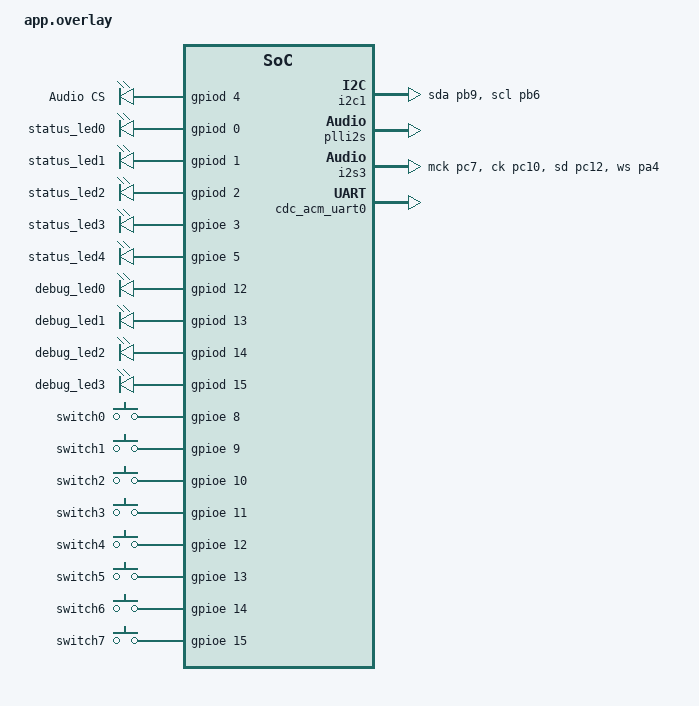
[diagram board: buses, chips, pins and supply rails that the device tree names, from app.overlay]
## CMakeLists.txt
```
cmake_minimum_required(VERSION 3.20.0)

set(BOARD stm32f4_disco)
set(CONF_FILE prj.conf)
find_package(Zephyr)
project(my_zephyr_app)

target_sources(app PRIVATE 
src/audio.cpp
src/leds.cpp
src/usb.c
src/Switch.cpp
src/key.cpp
src/i2c.c
src/peripherals.cpp
src/synth.cpp
src/main.cpp 
)
```

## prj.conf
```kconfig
CONFIG_CONSOLE=y
CONFIG_I2C=y
CONFIG_I2S=y
CONFIG_NEWLIB_LIBC=y
CONFIG_STDOUT_CONSOLE=y
CONFIG_USB_DEVICE_STACK=y
CONFIG_USB_DEVICE_PRODUCT="Zephyr CDC ACM sample"
CONFIG_USB_DEVICE_PID=0x0001
CONFIG_SERIAL=y
CONFIG_UART_INTERRUPT_DRIVEN=y
CONFIG_UART_LINE_CTRL=y
CONFIG_CPP=y
```

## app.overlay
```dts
&i2c1 {
    pinctrl-0 = <&i2c1_sda_pb9 &i2c1_scl_pb6>;
    pinctrl-names = "default";
    status = "okay";
};

/ {
    chip_selects {
        compatible = "gpio-leds";
        audio_cs: cs_0 {
            gpios = <&gpiod 4 GPIO_ACTIVE_HIGH>;
            label = "Audio CS";
        };
    };

    leds {
        compatible = "gpio-leds";
        status_led0: led_0 {
                gpios = <&gpiod 0 GPIO_ACTIVE_HIGH>;
        };
        status_led1: led_1 {
                gpios = <&gpiod 1 GPIO_ACTIVE_HIGH>;
        };
        status_led2: led_2 {
                gpios = <&gpiod 2 GPIO_ACTIVE_HIGH>;
        };
        status_led3: led_3 {
                gpios = <&gpioe 3 GPIO_ACTIVE_HIGH>;
        };
        status_led4: led_4 {
                gpios = <&gpioe 5 GPIO_ACTIVE_HIGH>;
        };
        debug_led0: led_5 {
            gpios = <&gpiod 12 GPIO_ACTIVE_HIGH>;
        };
        debug_led1: led_6 {
            gpios = <&gpiod 13 GPIO_ACTIVE_HIGH>;
        };
        debug_led2: led_7 {
            gpios = <&gpiod 14 GPIO_ACTIVE_HIGH>;
        };
        debug_led3: led_8 {
            gpios = <&gpiod 15 GPIO_ACTIVE_HIGH>;
        };
    };

    buttons {
        compatible = "gpio-keys";
        switch0: button_0 {
            gpios = <&gpioe 8 GPIO_ACTIVE_HIGH>;
        };
        switch1: button_1 {
            gpios = <&gpioe 9 GPIO_ACTIVE_HIGH>;
        };
        switch2: button_2 {
            gpios = <&gpioe 10 GPIO_ACTIVE_HIGH>;
        };
        switch3: button_3 {
            gpios = <&gpioe 11 GPIO_ACTIVE_HIGH>;
        };
        switch4: button_4 {
            gpios = <&gpioe 12 GPIO_ACTIVE_HIGH>;
        };
        switch5: button_5 {
            gpios = <&gpioe 13 GPIO_ACTIVE_HIGH>;
        };
        switch6: button_6 {
            gpios = <&gpioe 14 GPIO_ACTIVE_HIGH>;
        };
        switch7: button_7 {
            gpios = <&gpioe 15 GPIO_ACTIVE_HIGH>;
        };
    };


    aliases {
        cs0 = &audio_cs;
        status-led0 = &status_led0;
        status-led1 = &status_led1;
        status-led2 = &status_led2;
        status-led3 = &status_led3;
        status-led4 = &status_led4;
        debug-led0 = &debug_led0;
        debug-led1 = &debug_led1;
        debug-led2 = &debug_led2;
        debug-led3 = &debug_led3;
        switch0 = &switch0;
        switch1 = &switch1;
        switch2 = &switch2;
        switch3 = &switch3;
        switch4 = &switch4;
        switch5 = &switch5;
        switch6 = &switch6;
        switch7 = &switch7;
    };
};

&dma1 {
    status = "okay";
};

&plli2s {
    status = "okay";
    mul-n = <338>;
    div-r = <3>;
};

i2s_tx: &i2s3 {
    pinctrl-0 = <&i2s3_mck_pc7 &i2s3_ck_pc10 &i2s3_sd_pc12 &i2s3_ws_pa4>;
    pinctrl-names = "default";
    status = "okay";
	clocks = <&rcc STM32_CLOCK_BUS_APB1 0x00008000>,
             <&rcc STM32_SRC_PLLI2S_R I2S_SEL(0)>;
    mck-enabled;
};

&zephyr_udc0 {
	cdc_acm_uart0 {
		compatible = "zephyr,cdc-acm-uart";
	};
};
```

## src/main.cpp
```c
/*
 * Copyright (c) 2016 Intel Corporation
 *
 * SPDX-License-Identifier: Apache-2.0
 */

#include "Switch.hpp"
#include "audio.h"
#include "key.hpp"
#include "leds.h"
#include "peripherals.h"
#include "synth.hpp"
#include "usb.h"
//#include "Scheduler.h"
#include <math.h>
#include <zephyr/kernel.h>
#include <zephyr/logging/log.h>

#define STACK_SIZE 1024
#define MAX_THREADS 3

#define TH1_PRIORITY 3
#define TH2_PRIORITY 2
#define TH3_PRIORITY 4
//#define TH4_PRIORITY 4

#define TH1_PERIOD 5
#define TH2_PERIOD 100
#define TH3_PERIOD 50
//#define TH4_PERIOD 50


K_THREAD_STACK_DEFINE(stack1, STACK_SIZE);
K_THREAD_STACK_DEFINE(stack2, STACK_SIZE);
K_THREAD_STACK_DEFINE(stack3, STACK_SIZE);
//K_THREAD_STACK_DEFINE(stack4, STACK_SIZE);


int priorities[MAX_THREADS] = {TH1_PRIORITY, TH2_PRIORITY, TH3_PRIORITY};
k_thread_stack_t *stacks[MAX_THREADS] = {stack1, stack2, stack3};
//int leds[MAX_THREADS] = {&debug_led0, &debug_led1, &debug_led2, &debug_led3};
struct k_work_q work_q[MAX_THREADS];

// Syntheizer instance
Synthesizer synth;
// Buffer for writing to audio driver
void *mem_block;
int current_block = 1;

void check_keyboard() {
  char character;
  while (usbRead(&character, 1)) {
    auto key = Key::char_to_key(character);
    bool key_pressed = false;
    for (int i = 0; i < MAX_KEYS; i++) {
      if (key == keys[i].key && keys[i].state != IDLE) {
        keys[i].state = PRESSED;
        keys[i].hold_time = sys_timepoint_calc(K_MSEC(500));
        keys[i].release_time = sys_timepoint_calc(K_MSEC(500));
        key_pressed = true;
      }
    }
    // The second loop is necessary to avoid selecting an IDLE key when a
    // PRESSED or RELEASED key is located further away on the array
    if (!key_pressed) {
      for (int i = 0; i < MAX_KEYS; i++) {
        if (keys[i].state == IDLE) {
          keys[i].key = key;
          keys[i].state = PRESSED;
          keys[i].hold_time = sys_timepoint_calc(K_MSEC(500));
          keys[i].release_time = sys_timepoint_calc(K_MSEC(500));
          keys[i].phase1 = 0;
          keys[i].phase2 = 0;
          break;
        }
      }
    }
  }
}


void peripherals_update_work_handler(struct k_work *work) {

  set_led(&debug_led0);
  peripherals_update();
  reset_led(&debug_led0);
}

void check_keyboard_work_handler(struct k_work *work) {

  set_led(&debug_led1);
  check_keyboard();
  reset_led(&debug_led1);
}

void makesynth_work_handler(struct k_work *work) {

  //Timer to prevent overloding
  k_timepoint_t timeout = sys_timepoint_calc(K_MSEC(TH3_PERIOD - 2));

  set_led(&debug_led2);
  synth.makesynth(((uint8_t *) mem_block) + (int) BLOCK_SIZE * current_block, timeout);
  reset_led(&debug_led2);

  current_block = (current_block + 1) % 2;

  set_led(&debug_led3);
  writeBlock(((uint8_t *) mem_block) + (int) BLOCK_SIZE * current_block);
  reset_led(&debug_led3);
}

/* void writeBlock_work_handler(struct k_work *work) {

  set_led(&debug_led3);
  writeBlock(((uint8_t *) mem_block) + (int) BLOCK_SIZE * current_block);
  reset_led(&debug_led3);
} */


K_WORK_DEFINE(peripherals_update_work, peripherals_update_work_handler);
K_WORK_DEFINE(check_keyboard_work, check_keyboard_work_handler);
K_WORK_DEFINE(makesynth_work, makesynth_work_handler);
//K_WORK_DEFINE(writeBlock_work, writeBlock_work_handler);


void peripherals_update_timer_handler(struct k_timer *timer) {
  k_work_submit_to_queue(&work_q[0], &peripherals_update_work);
}

void check_keyboard_timer_handler(struct k_timer *timer) {
  k_work_submit_to_queue(&work_q[1], &check_keyboard_work);
}

void makesynth_timer_handler(struct k_timer *timer) {
  k_work_submit_to_queue(&work_q[2], &makesynth_work);
}

/* void writeBlock_timer_handler(struct k_timer *timer) {
  k_work_submit_to_queue(&work_q[3], &writeBlock_work);
} */

K_TIMER_DEFINE(peripherals_update_timer, peripherals_update_timer_handler, NULL); 
K_TIMER_DEFINE(check_keyboard_timer, check_keyboard_timer_handler, NULL);
K_TIMER_DEFINE(makesynth_timer, makesynth_timer_handler, NULL);
//K_TIMER_DEFINE(writeBlock_timer, writeBlock_timer_handler, NULL);


int main(void) {
  initUsb();
  waitForUsb();

  init_leds();
  initAudio();
  init_peripherals();

  synth.initialize();

  mem_block = allocBlock(); 
  memset(mem_block, 0, BLOCK_SIZE * 2);

  reset_led(&debug_led0);
  reset_led(&debug_led1);
  reset_led(&debug_led2);
  reset_led(&debug_led3);

  for (int i = 0; i < MAX_THREADS; i++) {
    k_work_queue_init(&work_q[i]);
    k_work_queue_start(&work_q[i], stacks[i], STACK_SIZE, priorities[i], NULL);
  }

  k_timer_start(&peripherals_update_timer, K_NO_WAIT, K_MSEC(TH1_PERIOD));
  k_timer_start(&check_keyboard_timer, K_NO_WAIT, K_MSEC(TH2_PERIOD));
  k_timer_start(&makesynth_timer, K_NO_WAIT, K_MSEC(TH3_PERIOD));
  //k_timer_start(&writeBlock_timer, K_NO_WAIT, K_MSEC(TH4_PERIOD));

  k_thread_suspend(k_current_get());

  /* int64_t time = k_uptime_get();

  int state = 0;
  while (1) {
    // Run the superloop slightly faster than once every 50 ms
    if (k_uptime_get() - time > BLOCK_GEN_PERIOD_MS-1) {
      time = k_uptime_get();

      if (state) {
        set_led(&status_led0);
      } else {
        reset_led(&status_led0);
      }
      state = !state;

      // Check the peripherals input
      set_led(&debug_led0);
      peripherals_update();
      reset_led(&debug_led0);

      // Get user input from the keyboard
      set_led(&debug_led1);
      check_keyboard();
      reset_led(&debug_led1);

      // Make synth sound
      set_led(&debug_led2);
      synth.makesynth((uint8_t *)mem_block);
      reset_led(&debug_led2);

      // Write audio block
      set_led(&debug_led3);
      writeBlock(mem_block);
      reset_led(&debug_led3);
    }
  }

  printuln("== Finished initialization =="); */

  return 0;
}
```

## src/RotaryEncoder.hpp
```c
#ifndef __ROTARY_ENCODER_H__
#define __ROTARY_ENCODER_H__

#include "usb.h"
#include <errno.h>

class RotaryEncoder {
public:
  // Encoder's callback type definition, called when the encoder changes its state
  typedef void (*re_callback)(RotaryEncoder &encoder);

  /// @brief Encoder's constructor
  /// @param id encoder's ID, from 0 to N_ENCODERS
  /// @param pin_0 initialization value of pin 0
  /// @param pin_1 initialization value of pin 0
  /// @param absolute_value absolute initialization value
  /// @param callback the callback that is called when the encoder changes its state. Default: no callback
  RotaryEncoder(uint8_t id, unsigned int pin_0, unsigned int pin_1,
                int absolute_value = 0, re_callback callback = nullptr)
      : _id{id}, _pin_0{pin_0}, _pin_1{pin_1}, _absolute_value{absolute_value},
        _callback{callback} {}
  
  /// @brief Default encoder's constructor
  RotaryEncoder()
      : _id{0}, _pin_0{0}, _pin_1{0}, _absolute_value{0}, _callback{nullptr} {}

  /// @brief Encoder initialization function
  /// Call this function during initialization before calling the rest of the fuctions if you have used the default constuctor
  /// @param id encoder's ID, from 0 to N_ENCODERS
  /// @param pin_0 initialization value of pin 0
  /// @param pin_1 initialization value of pin 1
  /// @param absolute_value absolute initialization value
  /// @param callback the callback that is called when the encoder changes its state. Default: no callback
  void initialize(uint8_t id, unsigned int pin_0, unsigned int pin_1,
                  re_callback callback = nullptr) {
    _id = id;
    _pin_0 = pin_0;
    _pin_1 = pin_1;
    _callback = callback;
  }

  /// @brief Reset to 0 the encoder's absolute value
  void reset() { _absolute_value = 0; }

  /// @brief Get the encoder's absolute value
  /// @return the encoder's absolute value
  int get_state() { return _absolute_value; }

  /// @brief Get the encoder's absolute value
  /// @param state he encoder's new absolute value
  void set_state(int state) { _absolute_value = state; }

  /// @brief Clamp and set the new absolute value
  /// @param state the new absolute value
  /// @param min minimum clamping value
  /// @param max maximum clamping value
  void set_state_clamped(int state, int min, int max) {
    int tmp = state;

    if (tmp > max) {
      tmp = max;
    } else if (tmp < min) {
      tmp = min;
    }

    _absolute_value = tmp;
  }

  /// @brief Get the encoder's pin 0 value
  /// @return the encoder's pin 0 value
  unsigned int get_pin0() { return _pin_0; }

  /// @brief Get the encoder's pin 1 value
  /// @return the encoder's pin 1 value
  unsigned int get_pin1() { return _pin_1; }

  /// @brief Set the encoder's callback
  /// @param callback the encoder's callback
  void set_callback(re_callback callback) { _callback = callback; }

  /// @brief Set a new value for pin 0
  /// @param pin_0 
  /// @return 0 on success, -ERRNO otherwise
  int update_pin_0(int pin_0) { return update(pin_0, _pin_1); }

  /// @brief Set a new value for pin 1
  /// @param pin_1 
  /// @return 0 on success, -ERRNO otherwise
  int update_pin_1(int pin_1) { return update(_pin_0, pin_1); }

  /// @brief Update the encoder's state
  /// @param pin_0 
  /// @param pin_1 
  /// @return 0 on success, -ERRNO otherwise
  int update(unsigned int pin_0, unsigned int pin_1) {
    // Check for invalid state
    if (((pin_0 != _pin_0) && (pin_1 != _pin_1)) || pin_0 > 1 || pin_1 > 1) {
      return -EINVAL;
    } else if ((pin_0 == _pin_0) && (pin_1 == _pin_1)) {
      return 0;
    }

    int past_value = _pin_0 + _pin_1 * 2;
    int new_value = pin_0 + pin_1 * 2;
    _pin_0 = pin_0;
    _pin_1 = pin_1;

    // Update the state machine
    switch (past_value) {
    case 0:
      if (new_value == 1)
        _absolute_value++;
      else if (new_value == 2)
        _absolute_value--;
      break;
    case 1:
      if (new_value == 3)
        _absolute_value++;
      else if (new_value == 0)
        _absolute_value--;
      break;
    case 2:
      if (new_value == 0)
        _absolute_value++;
      else if (new_value == 3)
        _absolute_value--;
      break;
    case 3:
      if (new_value == 2)
        _absolute_value++;
      else if (new_value == 1)
        _absolute_value--;
      break;
    default:
      break;
    }

    if (_callback != nullptr)
      _callback(*this);

    return 0;
  }

public:
  uint8_t _id;
  unsigned int _pin_0;
  unsigned int _pin_1;
  int _absolute_value;
  re_callback _callback;
};

#endif // __ROTARY_ENCODER_H__
```

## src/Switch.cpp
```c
#include "Switch.hpp"
#include "usb.h"

#include <zephyr/drivers/gpio.h>

bool get_button(const struct gpio_dt_spec *button) {
  return gpio_pin_get_dt(button);
}

int ThreePosSwitch::initialize(const struct gpio_dt_spec *up,
                               const struct gpio_dt_spec *down,
                               sw3_callback callback) {
  _callback = callback;
  _up = up;
  _down = down;

  // Configure the first GPIO
  if (!gpio_is_ready_dt(_up)) {
    printuln("GPIO up was not ready.");
    return -1;
  }
  gpio_pin_configure_dt(_up, GPIO_INPUT | GPIO_PULL_UP);

  // Configure the second GPIO
  if (!gpio_is_ready_dt(_down)) {
    printuln("GPIO down was not ready.");
    return -1;
  }
  gpio_pin_configure_dt(_down, GPIO_INPUT | GPIO_PULL_UP);

  update();
  return 0;
}

void ThreePosSwitch::update() {
  // Get the new state
  bool up = gpio_pin_get_dt(_up);
  bool dn = gpio_pin_get_dt(_down);
  if (up == dn) {
    _current_state = Neutral;
  } else if (up) {
    _current_state = Up;
  } else {
    _current_state = Down;
  }

  // If the state is different, call the callback
  if (_current_state != _previous && _callback != nullptr) {
    _callback(*this);
  }

  // Update the invariant
  _previous = _current_state;
}
```

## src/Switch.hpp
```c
#ifndef __BUTTONS_H__
#define __BUTTONS_H__

enum ThreeWaySwitchState { Down = -1, Neutral = 0, Up = 1 };

class ThreePosSwitch {
public:
  // Switch's callback type definition, called when the switch changes its state
  typedef void (*sw3_callback)(ThreePosSwitch &sw);

  /// @brief Default constructor
  ThreePosSwitch()
      : _current_state{Neutral}, _previous{Neutral}, _callback{nullptr},
        _up{nullptr}, _down{nullptr} {}
  
  /// @brief Switch's initialization function
  /// Call this function during initialization before calling the rest of the fuctions
  /// @param up up pin hardware handler
  /// @param down down pin hardware handler
  /// @param callback the callback that is called when the switch changes its state. Default: no callback
  /// @return 0 on success, -ERRNO otherwise
  int initialize(const struct gpio_dt_spec *up, const struct gpio_dt_spec *down,
                 sw3_callback callback = nullptr);
  
  /// @brief Switch update function.
  void update();

  ThreeWaySwitchState _current_state;
  ThreeWaySwitchState _previous;
  sw3_callback _callback;
  const struct gpio_dt_spec *_up;
  const struct gpio_dt_spec *_down;
};

#endif // __BUTTONS_H__
```

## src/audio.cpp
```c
#include "audio.h"
#include "usb.h"
#include <errno.h>
#include <stdint.h>
#include <zephyr/drivers/gpio.h>
#include <zephyr/drivers/i2c.h>
#include <zephyr/drivers/i2s.h>
#include <zephyr/kernel.h>
#include <zephyr/logging/log.h>

#define I2S_TX_NODE DT_NODELABEL(i2s_tx)
K_MEM_SLAB_DEFINE_STATIC(mem_slab, BLOCK_SIZE, BLOCK_COUNT, 4);

/* 1000 msec = 1 sec */
#define SLEEP_TIME_MS 1000

/* The devicetree node identifier for the "led0" alias. */
#define LED0_NODE DT_ALIAS(led0)
#define AUDIO_CS DT_ALIAS(cs0)

static const struct gpio_dt_spec cs = GPIO_DT_SPEC_GET(AUDIO_CS, gpios);
const struct device *const i2s_dev_tx = DEVICE_DT_GET(I2S_TX_NODE);

static int read(uint8_t devaddr, uint8_t regaddr, uint8_t *regval) {
  int ret;

  const struct device *dev = DEVICE_DT_GET(DT_NODELABEL(i2c1));

  if (!device_is_ready(dev)) {
    printuln("Device not ready");
    return -ENODEV;
  }

  ret = i2c_write_read(dev, devaddr, &regaddr, 1, regval, 1);
  if (ret) {
    printuln("Call `i2c_write_read` failed: %d", ret);
    return ret;
  }

  return 0;
}

static int write(uint8_t devaddr, uint8_t regaddr, uint8_t regval) {
  int ret;

  const struct device *dev = DEVICE_DT_GET(DT_NODELABEL(i2c1));

  if (!device_is_ready(dev)) {
    printuln("Device not ready");
    return -ENODEV;
  }

  uint8_t buf[2] = {regaddr, regval};

  ret = i2c_write(dev, buf, 2, devaddr);
  if (ret) {
    printuln("Call `i2c_write` failed: %d", ret);
    return ret;
  }

  return 0;
}

void *allocBlock() {
  void *mem_block;
  int ret = k_mem_slab_alloc(&mem_slab, &mem_block, K_NO_WAIT);
  if (ret < 0) {
    printuln("Failed to allocate TX block: %d\n", ret);
    return nullptr;
  }

  // We'll eventually want to handle this return value
  ret = i2s_trigger(i2s_dev_tx, I2S_DIR_TX, I2S_TRIGGER_START);

  return mem_block;
}

int initAudio() {
  int ret;

  // Initialize CS gpio pin
  if (!gpio_is_ready_dt(&cs)) {
    printuln("CS gpio pin was not ready.");
    return ret;
  }
  ret = gpio_pin_configure_dt(&cs, GPIO_OUTPUT_ACTIVE);
  if (ret < 0) {
    printuln("Failed to configure CS gpio pin.");
    return ret;
  }
  ret = gpio_pin_set_dt(&cs, 1);
  if (ret < 0) {
    printuln("Failed to set CS gpio pin to 1.");
    return ret;
  }

  ret = 0;
  ret |= write(0x4A, 0x02, 0x01); // power save registers -> all on
  ret |= write(0x4A, 0x00, 0x99);
  ret |= write(0x4A, 0x47, 0x80);     // inits
  ret |= write(0x4A, 0x0d, 0x03);     // playback ctrl
  ret |= write(0x4A, 0x32, (1 << 7)); // vol
  ret |= write(0x4A, 0x32, (0 << 7)); // vol
  ret |= write(0x4A, 0x00, 0x00);     // inits
  ret |= write(0x4A, 0x04, 0xaf);     // power ctrl
  ret |= write(0x4A, 0x0d, 0x70);
  ret |=
      write(0x4A, 0x05,
            0x81); // clocking: auto speed is determined by the MCLK/LRCK ratio.
  ret |= write(0x4A, 0x06, 0x07); // DAC interface format, I²S 16 bit
  ret |= write(0x4A, 0x0a, 0x00);
  ret |= write(0x4A, 0x27, 0x00);
  ret |= write(0x4A, 0x80, 0x0a); // both channels on
  ret |= write(0x4A, 0x1f, 0x0f);
  ret |= write(0x4A, 0x22, 4 - 80);
  ret |= write(0x4A, 0x23, 4 - 80); // limit headphone volume
  ret |= write(0x4A, 0x02, 0x9e);
  if (ret < 0) {
    printuln("Failed to write config over i2c.");
    return ret;
  }

  ret = setVolume(80);
  if (ret < 0) {
    printuln("Failed to set initial volume");
  }

  struct i2s_config config;

  if (!device_is_ready(i2s_dev_tx)) {
    printuln("%s is not ready\n", i2s_dev_tx->name);
    return -1;
  }

  config.word_size = SAMPLE_BIT_WIDTH;
  config.channels = NUMBER_OF_CHANNELS;
  config.format = I2S_FMT_DATA_FORMAT_I2S;
  config.options = I2S_OPT_BIT_CLK_MASTER | I2S_OPT_FRAME_CLK_MASTER;
  config.frame_clk_freq = SAMPLE_FREQUENCY;
  config.mem_slab = &mem_slab;
  config.block_size = BLOCK_SIZE;
  config.timeout = TIMEOUT;

  ret = i2s_configure(i2s_dev_tx, I2S_DIR_TX, &config);
  if (ret < 0) {
    printuln("Failed to configure TX stream: %d\n", ret);
    return -1;
  }

  printuln("Audio driver initialization finished!");
  return 0;
}

int setVolume(uint8_t volumeValue) {
  int8_t vol;
  if (volumeValue > 100)
    volumeValue = 100;
  // strange mapping, see datasheet
  // vol=25; // -102 dB
  // vol=24  // +12dB

  vol = -90 + (float)80 * volumeValue / 100;

  int ret = 0;
  ret |= write(0x4A, 0x20, vol);
  ret |= write(0x4A, 0x21, vol);
  if (ret < 0) {
    printuln("Failed to set volume.");
    return -1;
  }
  return 0;
}

int writeBlock(void *mem_block) {
  int ret;

  // We'll eventually want to check this return value
  !i2s_trigger(i2s_dev_tx, I2S_DIR_TX, I2S_TRIGGER_START);
  
  ret = i2s_write(i2s_dev_tx, mem_block, BLOCK_SIZE);
  if (ret < 0) {
    printuln("Failed to write block 0: %d", ret);
    if (ret == -5) {
      i2s_trigger(i2s_dev_tx, I2S_DIR_TX, I2S_TRIGGER_PREPARE);
      writeBlock(mem_block);
    }
    return 0;
  }

  printuln("Wrote block 0");
  return 0;
}
```

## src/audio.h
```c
#ifndef AUDIO_H
#define AUDIO_H

#include <stdint.h>

/**
 * I2S driver configuration constants
*/
#define SAMPLE_FREQUENCY 44100
#define SAMPLE_BIT_WIDTH 16
#define BYTES_PER_SAMPLE sizeof(int16_t)
#define NUMBER_OF_CHANNELS 1
#define TIMEOUT 1000

/**
 * Constants for configuring memory slab used as buffer for I2S driver
*/
// Want to generate a block of audio samples every 50 ms = 0.05 s
#define BLOCK_GEN_PERIOD_S (0.05)
#define BLOCK_GEN_PERIOD_MS (BLOCK_GEN_PERIOD_S * 1000)

// How many samples we can produce within the block generation period given
// the sampling frequency
#define SAMPLES_PER_BLOCK (SAMPLE_FREQUENCY * BLOCK_GEN_PERIOD_S * NUMBER_OF_CHANNELS)

// how large the audio block can be to fill it within the block generation period
#define BLOCK_SIZE (BYTES_PER_SAMPLE * SAMPLES_PER_BLOCK) 

// the number of audio blocks to use
#define BLOCK_COUNT (2)



/// @brief Audio initialization function
/// Call this function before you call any other function from this library
/// @return 0 on success, -ERRNO otherwise
int initAudio();

/// @brief Set the output volume/amplitude of the audio amplifier
/// @param volumeValue volume value, from 0 to 255
/// @return 0 on success, -ERRNO otherwise
int setVolume(uint8_t volumeValue);

/// @brief Initialize the audio buffers
void *allocBlock();

/// @brief Write one of the buffers to the audio amplifier
/// Note: this is accomplished asynchronously through a DMA request
/// @param mem_block the audio buffer
/// @return 0 on success, -ERRNO otherwise
int writeBlock(void *mem_block);

#endif
```

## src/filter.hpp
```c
#include <stdint.h>
#include <math.h>

#define PI (3.14159265358979323846)

// Filter discrete cut-off frequencies, 96-entry LUT
const float CUTOFF_FREQUENCIES_96[] = {
    0., 20.000,   20.993,   22.036,   23.131,   24.280,   25.485,   26.751,
    28.080,   29.475,   30.939,   32.476,   34.089,   35.782,   37.559,
    39.425,   41.383,   43.438,   45.596,   47.861,   50.238,   52.733,
    55.352,   58.102,   60.987,   64.017,   67.196,   70.534,   74.037,
    77.715,   81.575,   85.627,   89.880,   94.344,   99.030,   103.949,
    109.112,  114.531,  120.220,  126.191,  132.459,  139.039,  145.945,
    153.194,  160.803,  168.790,  177.173,  185.973,  195.211,  204.907,
    215.084,  225.768,  236.981,  248.752,  261.108,  274.077,  287.690,
    301.979,  316.979,  332.723,  349.249,  366.596,  384.805,  403.918,
    423.980,  445.039,  467.144,  490.347,  514.703,  540.268,  567.103,
    595.270,  624.837,  655.873,  688.450,  722.645,  758.538,  796.214,
    835.762,  877.274,  920.848,  966.586,  1014.596, 1064.991, 1117.888,
    1173.413, 1231.696, 1292.874, 1357.091, 1424.497, 1495.251, 1569.520,
    1647.477, 1729.307, 1815.201, 1905.361, 2000.000,
};


// Filter discrete cut-off frequencies, 48-entry LUT
// const float CUTOFF_FREQUENCIES_48[] = {
//   20.000, 22.059, 24.330, 26.834,
//   29.597, 32.643, 36.004, 39.710,
//   43.798, 48.307, 53.280, 58.765,
//   64.814, 71.486, 78.845, 86.962,
//   95.914, 105.787, 116.678, 128.689,
//   141.936, 156.548, 172.663, 190.438,
//   210.042, 231.665, 255.513, 281.816,
//   310.827, 342.825, 378.117, 417.041,
//   459.973, 507.324, 559.549, 617.151,
//   680.683, 750.755, 828.040, 913.281,
//   1007.297, 1110.992, 1225.361, 1351.504,
//   1490.632, 1644.083, 1813.330, 2000.000,
// };

// Implements second-order Butterworth low-pass filter
class Filter {
public:
    float _cutoff_freq; // cutoff frequency of the LPF in Hz
    int _cutoff_enc; // cutoff frequency encoder state
    float _resonance_freq; // TODO: implement
    int _resonance_enc;

private:
    // Frequency at which the LPF is sampled
    float sampling_freq;
    
    // Windows for the previous inputs and outputs
    float prev_sample[2] = {0, 0}; // x(n-1), x(n-2)
    float prev_output[2] = {0, 0}; // y(n-1), y(n-2)

    // Coefficients for the 2nd order Butterworth
    float a[3] = {0., 0., 0.}; // input sample coefficients
    float b[2] = {0., 0.}; // previous output sample coefficients

    /// @brief Update the filter coefficients from the encoder values
    /// Internal function called by the encoder's callback
    void update_coefficients() {
        // float K1 = sqrtf(2) * _cutoff_freq;
        // float K2 = powf(_cutoff_freq, 2);

        // a[0] = K2 / (1.0 + K1 + K2);
        // a[1] = 2 * a[0];
        // a[2] = a[0];

        // float K3 = a[1] / K2;

        // b[0] = -a[1] + K3;
        // b[1] = 1 - a[1] - K3;


        // float norm_freq = _cutoff_freq / sampling_freq;

        float ita = 1.0 / tanf(PI * _cutoff_freq);
        float q = sqrtf(2);

        a[0] = 1.0 / (1.0 + (q*ita) + (ita*ita));
        a[1] = 2 * a[0];
        a[2] = a[0];

        b[0] = 2.0 * ((ita * ita) - 1.0) * a[0];
        b[1] = -(1.0 - (q * ita) + (ita * ita)) * a[0];
    }

public:
    /// @brief Sound filter constructor
    /// @param sampling_freq TODO
    /// @param cutoff_freq TODO
    Filter(float sampling_freq, float cutoff_freq) {
        this->sampling_freq = sampling_freq;
        this->_cutoff_enc = 0;
        this->_resonance_enc = 0;
        set_cutoff_freq(cutoff_freq);
    }

    // Applies the filter and updates the sampling window
    float filter(float curr_sample) {
        float y = a[0] * curr_sample + a[1] * prev_sample[0] + a[2] * prev_sample[1] +
                    b[0] * prev_output[0] + b[1] * prev_output[1];
        
        // update sample window
        prev_sample[1] = prev_sample[0]; prev_sample[0] = curr_sample;
        prev_output[1] = prev_output[0]; prev_output[0] = y;

        return y;
    }

    /// @brief Sets the filter's cut-off frequency
    /// @param cutoff the filter's cut-off frequency
    void set_cutoff_freq(float cutoff) {
        // convert from Hz to rad/sec
        // float corrected_cutoff = (1 / (2*sampling_freq)) - cutoff;

        // Normalize the cutoff frequency to the sampling frequency
        _cutoff_freq =  cutoff / sampling_freq;
        update_coefficients();
    }

    /// @brief Sets the filter's resonance frequency
    /// @param cutoff the filter's resonance frequency
    void set_resonance_freq(float res) {
        _resonance_freq = res;
    }
};
```

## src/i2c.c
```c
#include <stdint.h>
#include <zephyr/drivers/i2c.h>

int read(uint8_t devaddr, uint8_t regaddr, uint8_t *regval)
{
    int ret;

    const struct device *dev = DEVICE_DT_GET(DT_NODELABEL(i2c1));

    if (!device_is_ready(dev)) {
        printk("Device not ready");
        return -ENODEV;
    }

    ret = i2c_write_read(dev, devaddr, &regaddr, 1, regval, 1);
    if (ret) {
        printk("Call `i2c_write_read` failed: %d", ret);
        return ret;
    }

    return 0;
}

static int write(uint8_t devaddr, uint8_t regaddr, uint8_t regval)
{
    int ret;

    const struct device *dev = DEVICE_DT_GET(DT_NODELABEL(i2c1));

    if (!device_is_ready(dev)) {
        printk("Device not ready");
        return -ENODEV;
    }

    uint8_t buf[2] = { regaddr, regval };

    ret = i2c_write(dev, buf, 2, devaddr);
    if (ret) {
        printk("Call `i2c_write` failed: %d", ret);
        return ret;
    }

    return 0;
}
```

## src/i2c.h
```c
#include <stdint.h>

/// @brief Read a byte from a device, syntactic sugar
/// @param devaddr the peripheral device's address
/// @param regaddr the device's register address
/// @param regval the address where this function will write the read value
/// @return 0 on success, -ERRNO otherwise
int read(uint8_t devaddr, uint8_t regaddr, uint8_t *regval);

/// @brief Write a byte from a device, syntactic sugar
/// @param devaddr the peripheral device's address
/// @param regaddr the device's register address
/// @param regval the value to write to the device
/// @return 0 on success, -ERRNO otherwise
int write(uint8_t devaddr, uint8_t regaddr, uint8_t regval);
```

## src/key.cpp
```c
#include "key.hpp"

Key keys[MAX_KEYS];

/*
 *  s d   g h j
 * z x c v b n m ,
 * | | | | | | | |
 * C D E F G A B C
 */
key_t Key::char_to_key(char c) {
  switch (c) {
  case ';':
    return E4;
  case 'p':
    return Dh4;
  case 'l':
    return D4;
  case 'o':
    return Ch4;
  case 'k':
    return C4;
  case 'j':
    return B4;
  case 'u':
    return Bb4;
  case 'h':
    return A4;
  case 'y':
    return Ab3;
  case 'g':
    return G3;
  case 't':
    return Fh3;
  case 'f':
    return F3;
  case 'd':
    return E3;
  case 'e':
    return Dh3;
  case 's':
    return D3;
  case 'w':
    return Ch3;
  case 'a':
    return C3;
  default:
    return A3;
  }
}

float Key::get_freq() {
  switch (key) {
  case A3:
    return 200.0;
  case Bb3:
    return 233.08;
  case B3:
    return 246.94;
  case C3:
    return 261.626;
  case Ch3:
    return 277.183;
  case D3:
    return 293.665;
  case Dh3:
    return 311.127;
  case E3:
    return 329.628;
  case F3:
    return 349.228;
  case Fh3:
    return 369.994;
  case G3:
    return 391.995;
  case Ab3:
    return 415.305;
  case A4:
    return 440.000;
  case Bb4:
    return 466.164;
  case B4:
    return 493.883;
  case C4:
    return 523.251;
  default:
    return 0.;
  }
}
```

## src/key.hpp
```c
#ifndef __KEY_H_H_
#define __KEY_H_H_

#include <stdint.h>
#include <zephyr/kernel.h>

typedef enum {
  A3,
  Bb3,
  B3,
  C3,
  Ch3,
  D3,
  Dh3,
  E3,
  F3,
  Fh3,
  G3,
  Ab3,
  A4,
  Bb4,
  B4,
  C4,
  Ch4,
  D4,
  Dh4,
  E4,
} key_t;

/// @brief The state of a key
typedef enum { IDLE, PRESSED, RELEASED } key_state_t;

/// @brief Maximum number of keys. Space allocated at compile time.
const uint8_t MAX_KEYS = 4;

class Key {
public:
  /// @brief Key constructor
  Key()
      : state{IDLE}, key{A3}, hold_time{sys_timepoint_calc(K_FOREVER)},
        release_time{sys_timepoint_calc(K_FOREVER)}, elapsed_hold{0.0},
        elapsed_release{0.0}, phase1{0}, phase2{0} {}

  /// @brief Generate key_t struct from keyboard input
  /// @param c the keyboard input
  /// @return keyboard key
  static key_t char_to_key(char c);

  /// @brief Get the frequency of this specific key
  /// @return this key's frequency
  float get_freq();

  key_state_t state;
  key_t key;
  uint16_t phase1;
  uint16_t phase2;
  k_timepoint_t hold_time;
  k_timepoint_t release_time;
  float elapsed_hold;
  float elapsed_release;
};

extern Key keys[MAX_KEYS];

#endif // __KEY_H__
```

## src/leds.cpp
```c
#include <zephyr/drivers/gpio.h>
#include <zephyr/kernel.h>
#include <zephyr/logging/log.h>
#include "leds.h"
#include "usb.h"

const struct gpio_dt_spec debug_led0 = GPIO_DT_SPEC_GET(DT_ALIAS(debug_led0), gpios);
const struct gpio_dt_spec debug_led1 = GPIO_DT_SPEC_GET(DT_ALIAS(debug_led1), gpios);
const struct gpio_dt_spec debug_led2 = GPIO_DT_SPEC_GET(DT_ALIAS(debug_led2), gpios);
const struct gpio_dt_spec debug_led3 = GPIO_DT_SPEC_GET(DT_ALIAS(debug_led3), gpios);

const struct gpio_dt_spec status_led0 = GPIO_DT_SPEC_GET(DT_ALIAS(status_led0), gpios);
const struct gpio_dt_spec status_led1 = GPIO_DT_SPEC_GET(DT_ALIAS(status_led1), gpios);
const struct gpio_dt_spec status_led2 = GPIO_DT_SPEC_GET(DT_ALIAS(status_led2), gpios);
const struct gpio_dt_spec status_led3 = GPIO_DT_SPEC_GET(DT_ALIAS(status_led3), gpios);
const struct gpio_dt_spec status_led4 = GPIO_DT_SPEC_GET(DT_ALIAS(status_led4), gpios);

static const struct gpio_dt_spec* leds[] = {
    &debug_led0,
    &debug_led1,
    &debug_led2,
    &debug_led3,
    &status_led0,
    &status_led1,
    &status_led2,
    &status_led3,
    &status_led4
};

void blinking_led(int num_blinks) {
    int state = 0;
    while (state < num_blinks*2)
    {
        if (state % 2) {
            set_led(&status_led3);
            k_busy_wait(500000);
        } else {
            reset_led(&status_led3);
            k_busy_wait(500000);
        }
        state++;
    } 

}

int init_leds() {
    for(int i = 0; i < N_LEDS; i++) {
        const struct gpio_dt_spec* led = leds[i];
        if (!gpio_is_ready_dt(led)) {
            printk("GPIO led was not ready.");
            return -1;
        }

        gpio_pin_configure_dt(led, GPIO_OUTPUT_ACTIVE);
        gpio_pin_set_dt(led, false);
    }

    for (int i = 0; i < N_LEDS; i++) {
        set_led(leds[i]);
    }
    
    //printuln("LED initialization finished!");
    return 0;
}


int set_led(const struct gpio_dt_spec* led) {
    gpio_pin_set_dt(led, true);
    return 0;
}

int reset_led(const struct gpio_dt_spec* led) {
    gpio_pin_set_dt(led, false);
    return 0;
}
```

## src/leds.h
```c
#ifndef LEDS_H
#define LEDS_H

#define N_LEDS (9)
/**
 * On-board LEDs that can be probed on the STM board pins
 * Section 6.3: https://www.st.com/resource/en/user_manual/dm00039084-discovery-kit-with-stm32f407vg-mcu-stmicroelectronics.pdf
*/
// green LED
extern const struct gpio_dt_spec debug_led0;
// orange LED
extern const struct gpio_dt_spec debug_led1;
// red LED
extern const struct gpio_dt_spec debug_led2;
// blue LED
extern const struct gpio_dt_spec debug_led3;

// Status LEDs on the peripherals board
extern const struct gpio_dt_spec status_led0;
extern const struct gpio_dt_spec status_led1;
extern const struct gpio_dt_spec status_led2;
extern const struct gpio_dt_spec status_led3;
extern const struct gpio_dt_spec status_led4;

/// @brief For debugging purposes, blink the LED on the board
void blinking_led(int num_blinks);

/// @brief LEDs initialization function
/// Call it before using the LEDs
/// @return 0 on success, -ERRNO otherwise
int init_leds();

/// @brief Turn on a specific LED
/// @param led to turn on
/// @return 0 on success, -ERRNO otherwise
int set_led(const struct gpio_dt_spec* led);

/// @brief Turn off a specific LED
/// @param led to turn on
/// @return 0 on success, -ERRNO otherwise
int reset_led(const struct gpio_dt_spec* led);

#endif // LEDS_H
```
